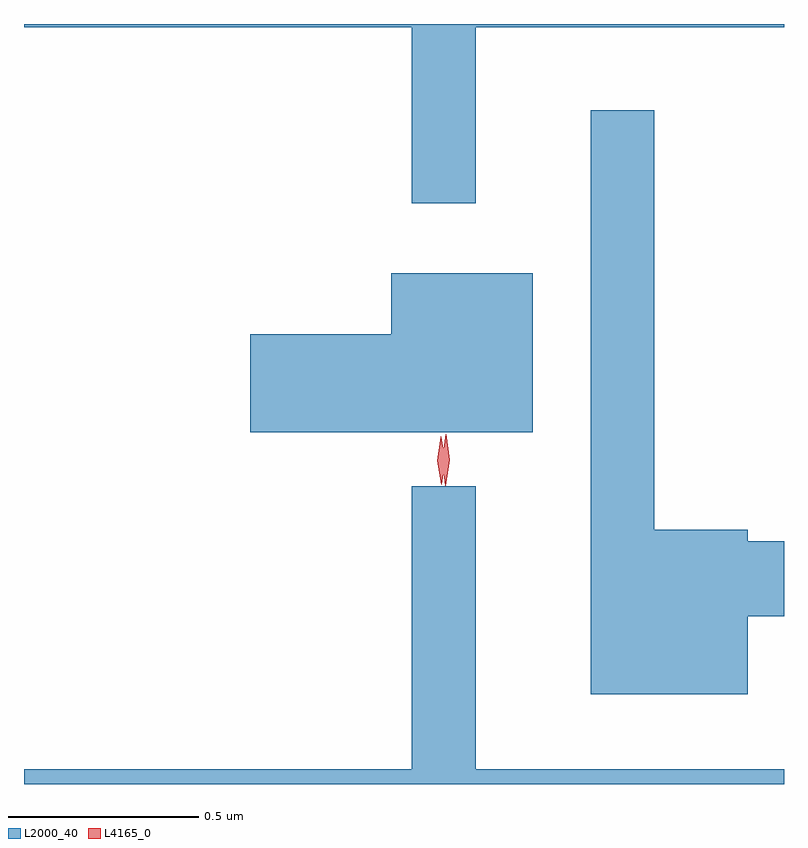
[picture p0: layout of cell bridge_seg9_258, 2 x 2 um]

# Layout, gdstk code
import gdstk
lib = gdstk.Library(unit=1e-6, precision=1e-09)
def P(c, l, *ps):  # polygons
    for p in ps: c.add(gdstk.Polygon(p, *l))
L2000_40 = (2000, 40)
L4165_0 = (4165, 0)

bridge_seg9_258 = lib.new_cell('bridge_seg9_258')
P(bridge_seg9_258, L2000_40, [(1337.359,1951.856),(1338.17,1951.856),(1338.17,1951.865),(1336.17,1951.865),(1336.17,1951.856),(1337.191,1951.856),(1337.191,1951.393),(1337.359,1951.393)],
  [(1338.074,1950.306),(1338.17,1950.306),(1338.17,1950.504),(1338.074,1950.504),(1338.074,1950.534),(1337.829,1950.534),(1337.829,1951.638),(1337.661,1951.638),(1337.661,1950.101),(1338.074,1950.101)],
  [(1337.509,1951.209),(1337.136,1951.209),(1337.136,1951.049),(1336.766,1951.049),(1336.766,1950.791),(1337.509,1950.791)],
  [(1338.17,1949.904),(1337.359,1949.904),(1337.359,1950.648),(1337.191,1950.648),(1337.191,1949.904),(1336.17,1949.904),(1336.17,1949.865),(1338.17,1949.865)])
P(bridge_seg9_258, L4165_0, [(1337.278,1950.65),(1337.27,1950.718),(1337.28,1950.785),(1337.28,1950.786),(1337.281,1950.785),(1337.29,1950.718),(1337.28,1950.65),(1337.279,1950.65)],
  [(1337.269,1950.653),(1337.268,1950.654),(1337.258,1950.716),(1337.267,1950.779),(1337.267,1950.78),(1337.268,1950.779),(1337.278,1950.716),(1337.269,1950.654)])

lib.write_gds('bridge_seg9_258.gds')
